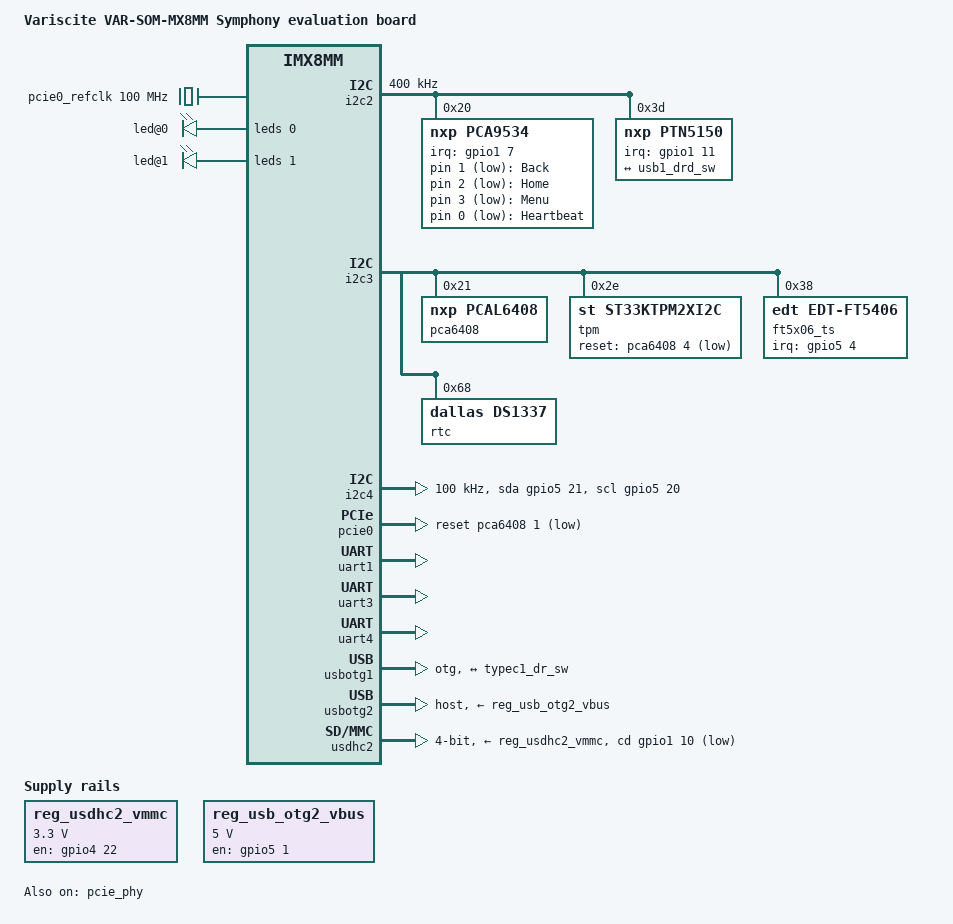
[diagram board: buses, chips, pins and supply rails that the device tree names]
// SPDX-License-Identifier: (GPL-2.0+ OR MIT)
/*
 * Copyright (C) 2020 Krzysztof Kozlowski <krzk@kernel.org>
 */

/dts-v1/;

#include <dt-bindings/leds/common.h>
#include <dt-bindings/phy/phy-imx8-pcie.h>
#include "imx8mm-var-som.dtsi"
#include "imx8mm-var-som-wifi-bt-iw61x.dtsi"

/ {
	model = "Variscite VAR-SOM-MX8MM Symphony evaluation board";
	compatible = "variscite,var-som-mx8mm-symphony", "variscite,var-som-mx8mm", "fsl,imx8mm";

	chosen {
		stdout-path = &uart4;
	};

	pcie0_refclk: pcie0-refclk {
		compatible = "fixed-clock";
		#clock-cells = <0>;
		clock-frequency = <100000000>;
	};

	reg_usdhc2_vmmc: regulator-usdhc2-vmmc {
		compatible = "regulator-fixed";
		pinctrl-names = "default";
		pinctrl-0 = <&pinctrl_reg_usdhc2_vmmc>;
		regulator-name = "VSD_3V3";
		regulator-min-microvolt = <3300000>;
		regulator-max-microvolt = <3300000>;
		gpio = <&gpio4 22 GPIO_ACTIVE_HIGH>;
		off-on-delay-us = <20000>;
		enable-active-high;
	};

	reg_usb_otg2_vbus: regulator-usb-otg2-vbus {
		compatible = "regulator-fixed";
		pinctrl-names = "default";
		pinctrl-0 = <&pinctrl_reg_usb_otg2_vbus>;
		pinctrl-1 = <&pinctrl_reg_usb_otg2_vbus_sleep>;
		regulator-name = "usb_otg2_vbus";
		regulator-min-microvolt = <5000000>;
		regulator-max-microvolt = <5000000>;
		gpio = <&gpio5 1 GPIO_ACTIVE_HIGH>;
		enable-active-high;
	};

	gpio-keys {
		compatible = "gpio-keys";

		key-back {
			label = "Back";
			gpios = <&pca9534 1 GPIO_ACTIVE_LOW>;
			linux,code = <KEY_BACK>;
		};

		key-home {
			label = "Home";
			gpios = <&pca9534 2 GPIO_ACTIVE_LOW>;
			linux,code = <KEY_HOME>;
		};

		key-menu {
			label = "Menu";
			gpios = <&pca9534 3 GPIO_ACTIVE_LOW>;
			linux,code = <KEY_MENU>;
		};
	};

	leds {
		compatible = "gpio-leds";

		led {
			label = "Heartbeat";
			gpios = <&pca9534 0 GPIO_ACTIVE_LOW>;
			linux,default-trigger = "heartbeat";
		};
	};
};

&ethphy {
	leds {
		#address-cells = <1>;
		#size-cells = <0>;

		led@0 {
			reg = <0>;
			color = <LED_COLOR_ID_YELLOW>;
			function = LED_FUNCTION_LAN;
			linux,default-trigger = "netdev";
		};

		led@1 {
			reg = <1>;
			color = <LED_COLOR_ID_GREEN>;
			function = LED_FUNCTION_LAN;
			linux,default-trigger = "netdev";
		};
	};
};

&i2c2 {
	clock-frequency = <400000>;
	pinctrl-names = "default";
	pinctrl-0 = <&pinctrl_i2c2>;
	status = "okay";

	pca9534: gpio@20 {
		compatible = "nxp,pca9534";
		reg = <0x20>;
		gpio-controller;
		pinctrl-names = "default";
		pinctrl-0 = <&pinctrl_pca9534>;
		interrupt-parent = <&gpio1>;
		interrupts = <7 IRQ_TYPE_EDGE_FALLING>;
		#gpio-cells = <2>;
		wakeup-source;

		/* USB 3.0 OTG (usbotg1) / SATA port switch, set to USB 3.0 */
		usb3-sata-sel-hog {
			gpio-hog;
			gpios = <4 GPIO_ACTIVE_HIGH>;
			output-low;
			line-name = "usb3_sata_sel";
		};

		som-vselect-hog {
			gpio-hog;
			gpios = <6 GPIO_ACTIVE_HIGH>;
			output-low;
			line-name = "som_vselect";
		};

		enet-sel-hog {
			gpio-hog;
			gpios = <7 GPIO_ACTIVE_HIGH>;
			output-low;
			line-name = "enet_sel";
		};
	};

	/* USB Type-C Controller */
	ptn5150: typec@3d {
		compatible = "nxp,ptn5150";
		reg = <0x3d>;
		interrupt-parent = <&gpio1>;
		interrupts = <11 IRQ_TYPE_LEVEL_LOW>;
		pinctrl-names = "default";
		pinctrl-0 = <&pinctrl_ptn5150>;

		port {
			typec1_dr_sw: endpoint {
				remote-endpoint = <&usb1_drd_sw>;
			};
		};
	};
};

&i2c3 {
	pca6408: gpio@21 {
		compatible = "nxp,pcal6408";
		reg = <0x21>;
		gpio-controller;
		#gpio-cells = <2>;
	};

	st33ktpm2xi2c: tpm@2e {
		compatible = "st,st33ktpm2xi2c", "tcg,tpm-tis-i2c";
		reg = <0x2e>;
		label = "tpm";
		reset-gpios = <&pca6408 4 GPIO_ACTIVE_LOW>;
	};

	/* Capacitive touch controller */
	ft5x06_ts: touchscreen@38 {
		compatible = "edt,edt-ft5406";
		reg = <0x38>;
		pinctrl-names = "default";
		pinctrl-0 = <&pinctrl_captouch>;
		interrupt-parent = <&gpio5>;
		interrupts = <4 IRQ_TYPE_LEVEL_HIGH>;

		touchscreen-size-x = <800>;
		touchscreen-size-y = <480>;
		touchscreen-inverted-x;
		touchscreen-inverted-y;
	};

	rtc@68 {
		compatible = "dallas,ds1337";
		reg = <0x68>;
	};
};

&i2c4 {
	clock-frequency = <100000>;
	pinctrl-names = "default", "gpio";
	pinctrl-0 = <&pinctrl_i2c4>;
	pinctrl-1 = <&pinctrl_i2c4_gpio>;
	scl-gpios = <&gpio5 20 (GPIO_ACTIVE_HIGH | GPIO_OPEN_DRAIN)>;
	sda-gpios = <&gpio5 21 (GPIO_ACTIVE_HIGH | GPIO_OPEN_DRAIN)>;
	status = "okay";
};

&pcie_phy {
	clocks = <&pcie0_refclk>;
	clock-names = "ref";
	fsl,refclk-pad-mode = <IMX8_PCIE_REFCLK_PAD_INPUT>;
	fsl,tx-deemph-gen1 = <0x2d>;
	fsl,tx-deemph-gen2 = <0xf>;
	fsl,clkreq-unsupported;
	status = "okay";
};

&pcie0 {
	reset-gpio = <&pca6408 1 GPIO_ACTIVE_LOW>;
	clocks = <&clk IMX8MM_CLK_PCIE1_ROOT>, <&pcie0_refclk>,
		 <&clk IMX8MM_CLK_PCIE1_AUX>;
	clock-names = "pcie", "pcie_bus", "pcie_aux";
	assigned-clocks = <&clk IMX8MM_CLK_PCIE1_AUX>,
			  <&clk IMX8MM_CLK_PCIE1_CTRL>;
	assigned-clock-rates = <10000000>, <250000000>;
	assigned-clock-parents = <&clk IMX8MM_SYS_PLL2_50M>,
				 <&clk IMX8MM_SYS_PLL2_250M>;
	status = "okay";
};

/* Header */
&uart1 {
	pinctrl-names = "default";
	pinctrl-0 = <&pinctrl_uart1>;
	status = "okay";
};

/* Header */
&uart3 {
	pinctrl-names = "default";
	pinctrl-0 = <&pinctrl_uart3>;
	status = "okay";
};

/* Console */
&uart4 {
	pinctrl-names = "default";
	pinctrl-0 = <&pinctrl_uart4>;
	status = "okay";
};

&usbotg1 {
	dr_mode = "otg";
	hnp-disable;
	srp-disable;
	adp-disable;
	usb-role-switch;
	samsung,picophy-pre-emp-curr-control = <3>;
	samsung,picophy-dc-vol-level-adjust = <7>;
	status = "okay";

	port {
		usb1_drd_sw: endpoint {
			remote-endpoint = <&typec1_dr_sw>;
		};
	};
};

&usbotg2 {
	dr_mode = "host";
	vbus-supply = <&reg_usb_otg2_vbus>;
	samsung,picophy-pre-emp-curr-control = <3>;
	samsung,picophy-dc-vol-level-adjust = <7>;
	disable-over-current;
	status = "okay";
};

/* SD */
&usdhc2 {
	pinctrl-names = "default", "state_100mhz", "state_200mhz";
	pinctrl-0 = <&pinctrl_usdhc2>, <&pinctrl_usdhc2_gpio>;
	pinctrl-1 = <&pinctrl_usdhc2_100mhz>, <&pinctrl_usdhc2_gpio>;
	pinctrl-2 = <&pinctrl_usdhc2_200mhz>, <&pinctrl_usdhc2_gpio>;
	cd-gpios = <&gpio1 10 GPIO_ACTIVE_LOW>;
	vmmc-supply = <&reg_usdhc2_vmmc>;
	bus-width = <4>;
	status = "okay";
};

&pinctrl_fec1 {
	fsl,pins = <
		MX8MM_IOMUXC_ENET_MDC_ENET1_MDC			0x3
		MX8MM_IOMUXC_ENET_MDIO_ENET1_MDIO		0x3
		MX8MM_IOMUXC_ENET_TD3_ENET1_RGMII_TD3		0x1f
		MX8MM_IOMUXC_ENET_TD2_ENET1_RGMII_TD2		0x1f
		MX8MM_IOMUXC_ENET_TD1_ENET1_RGMII_TD1		0x1f
		MX8MM_IOMUXC_ENET_TD0_ENET1_RGMII_TD0		0x1f
		MX8MM_IOMUXC_ENET_RD3_ENET1_RGMII_RD3		0x91
		MX8MM_IOMUXC_ENET_RD2_ENET1_RGMII_RD2		0x91
		MX8MM_IOMUXC_ENET_RD1_ENET1_RGMII_RD1		0x91
		MX8MM_IOMUXC_ENET_RD0_ENET1_RGMII_RD0		0x91
		MX8MM_IOMUXC_ENET_TXC_ENET1_RGMII_TXC		0x1f
		MX8MM_IOMUXC_ENET_RXC_ENET1_RGMII_RXC		0x91
		MX8MM_IOMUXC_ENET_RX_CTL_ENET1_RGMII_RX_CTL	0x91
		MX8MM_IOMUXC_ENET_TX_CTL_ENET1_RGMII_TX_CTL	0x1f
		/* Remove the MX8MM_IOMUXC_GPIO1_IO09_GPIO1_IO9 as not used */
	>;
};

&iomuxc {
	pinctrl_captouch: captouchgrp {
		fsl,pins = <
			MX8MM_IOMUXC_SPDIF_RX_GPIO5_IO4		0x16
		>;
	};

	pinctrl_i2c2: i2c2grp {
		fsl,pins = <
			MX8MM_IOMUXC_I2C2_SCL_I2C2_SCL		0x400001c3
			MX8MM_IOMUXC_I2C2_SDA_I2C2_SDA		0x400001c3
		>;
	};

	pinctrl_i2c4: i2c4grp {
		fsl,pins = <
			MX8MM_IOMUXC_I2C4_SCL_I2C4_SCL		0x400001c3
			MX8MM_IOMUXC_I2C4_SDA_I2C4_SDA		0x400001c3
		>;
	};

	pinctrl_i2c4_gpio: i2c4gpiogrp {
		fsl,pins = <
			MX8MM_IOMUXC_I2C4_SCL_GPIO5_IO20	0x1c3
			MX8MM_IOMUXC_I2C4_SDA_GPIO5_IO21	0x1c3
		>;
	};

	pinctrl_pca9534: pca9534grp {
		fsl,pins = <
			MX8MM_IOMUXC_GPIO1_IO07_GPIO1_IO7	0x16
		>;
	};

	pinctrl_ptn5150: ptn5150grp {
		fsl,pins = <
			MX8MM_IOMUXC_GPIO1_IO11_GPIO1_IO11	0x16
		>;
	};

	pinctrl_reg_usb_otg2_vbus: regusbotg2vbusgrp {
		fsl,pins = <
			MX8MM_IOMUXC_SAI3_TXD_GPIO5_IO1		0x16
		>;
	};

	pinctrl_reg_usb_otg2_vbus_sleep: regusbotg2vbus-sleepgrp {
		fsl,pins = <
			MX8MM_IOMUXC_SAI3_TXD_GPIO5_IO1		0x120
		>;
	};

	pinctrl_reg_usdhc2_vmmc: regusdhc2vmmcgrp {
		fsl,pins = <
			MX8MM_IOMUXC_SAI2_RXC_GPIO4_IO22	0x41
		>;
	};

	pinctrl_uart1: uart1grp {
		fsl,pins = <
			MX8MM_IOMUXC_UART1_RXD_UART1_DCE_RX	0x140
			MX8MM_IOMUXC_UART1_TXD_UART1_DCE_TX	0x140
		>;
	};

	pinctrl_uart3: uart3grp {
		fsl,pins = <
			MX8MM_IOMUXC_UART3_RXD_UART3_DCE_RX	0x140
			MX8MM_IOMUXC_UART3_TXD_UART3_DCE_TX	0x140
		>;
	};

	pinctrl_uart4: uart4grp {
		fsl,pins = <
			MX8MM_IOMUXC_UART4_RXD_UART4_DCE_RX	0x140
			MX8MM_IOMUXC_UART4_TXD_UART4_DCE_TX	0x140
		>;
	};

	pinctrl_usdhc2: usdhc2grp {
		fsl,pins = <
			MX8MM_IOMUXC_SD2_CLK_USDHC2_CLK		0x190
			MX8MM_IOMUXC_SD2_CMD_USDHC2_CMD		0x1d0
			MX8MM_IOMUXC_SD2_DATA0_USDHC2_DATA0	0x1d0
			MX8MM_IOMUXC_SD2_DATA1_USDHC2_DATA1	0x1d0
			MX8MM_IOMUXC_SD2_DATA2_USDHC2_DATA2	0x1d0
			MX8MM_IOMUXC_SD2_DATA3_USDHC2_DATA3	0x1d0
			MX8MM_IOMUXC_GPIO1_IO04_USDHC2_VSELECT	0x1d0
		>;
	};

	pinctrl_usdhc2_100mhz: usdhc2-100mhzgrp {
		fsl,pins = <
			MX8MM_IOMUXC_SD2_CLK_USDHC2_CLK		0x194
			MX8MM_IOMUXC_SD2_CMD_USDHC2_CMD		0x1d4
			MX8MM_IOMUXC_SD2_DATA0_USDHC2_DATA0	0x1d4
			MX8MM_IOMUXC_SD2_DATA1_USDHC2_DATA1	0x1d4
			MX8MM_IOMUXC_SD2_DATA2_USDHC2_DATA2	0x1d4
			MX8MM_IOMUXC_SD2_DATA3_USDHC2_DATA3	0x1d4
			MX8MM_IOMUXC_GPIO1_IO04_USDHC2_VSELECT	0x1d0
		>;
	};

	pinctrl_usdhc2_200mhz: usdhc2-200mhzgrp {
		fsl,pins = <
			MX8MM_IOMUXC_SD2_CLK_USDHC2_CLK		0x196
			MX8MM_IOMUXC_SD2_CMD_USDHC2_CMD		0x1d6
			MX8MM_IOMUXC_SD2_DATA0_USDHC2_DATA0	0x1d6
			MX8MM_IOMUXC_SD2_DATA1_USDHC2_DATA1	0x1d6
			MX8MM_IOMUXC_SD2_DATA2_USDHC2_DATA2	0x1d6
			MX8MM_IOMUXC_SD2_DATA3_USDHC2_DATA3	0x1d6
			MX8MM_IOMUXC_GPIO1_IO04_USDHC2_VSELECT	0x1d0
		>;
	};

	pinctrl_usdhc2_gpio: usdhc2gpiogrp {
		fsl,pins = <
			MX8MM_IOMUXC_GPIO1_IO10_GPIO1_IO10	0xc1
		>;
	};
};
